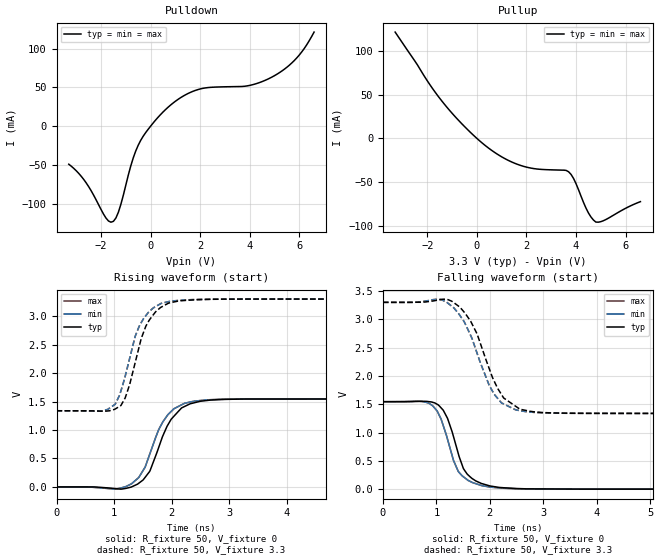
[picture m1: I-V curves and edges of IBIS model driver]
| IBIS file ex2_slowpre_probe.ibs created by PYS2IBIS3
| Missouri S&T EMC Lab
[IBIS Ver] 7.1
[File Name] ex2_slowpre_probe.ibs
[File Rev] 1.0
[Date] July 28, 2026
[Source] ex2 variant 'slowpre' -- predriver at half width
[Notes] Observation pass for parameter selection.
[Disclaimer] Experimental characterization for pybis observability study.
[Component] MCM Driver 1
[Manufacturer] MegaFLOPS Inc.
[Package]
| variable   typ   min   max
R_pkg 0 NA NA
L_pkg 0H NA NA
C_pkg 0F NA NA
[Pin]  signal_name   model_name   R_pin   L_pin   C_pin
vdd   vdd   POWER
gnd   gnd   GND
| in in dummy
out   out   driver
| End of Component
| Models and submodels in the file (1): driver (Output)
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[Model] driver
Model_type Output
Polarity Non-Inverting
Enable Active-Low
Vinl  = 0.8V
Vinh  = 2V
C_comp 5.0000pF 5.0000pF 5.0000pF
[Temperature Range] 27.0000 27.0000 27.0000
[Voltage Range] 3.3000V 3.3000V 3.3000V
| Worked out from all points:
|   slope of the pulldown table from 0 to 0.495 V, typ, clamps not added: 27.4 ohm
|   slope of the pullup table from 0 to 0.495 V, typ, clamps not added: 42.7 ohm
|   rising waveform, R_fixture 50, V_fixture 0: 20-80 % time 400ps typ, 396ps min, 396ps max; typ from 0 V to 1.54 V
|   rising waveform, R_fixture 50, V_fixture 3.3: 20-80 % time 350ps typ, 351ps min, 351ps max; typ from 1.34 V to 3.3 V
|   falling waveform, R_fixture 50, V_fixture 0: 20-80 % time 330ps typ, 324ps min, 324ps max; typ from 1.54 V to 0 V
|   falling waveform, R_fixture 50, V_fixture 3.3: 20-80 % time 504ps typ, 502ps min, 502ps max; typ from 3.3 V to 1.34 V
[Pulldown]
| Voltage   I(typ)   I(min)   I(max)
-3.3V     -48.93mA   -48.93mA   -48.93mA
-2.6V     -72.86mA   -72.86mA   -72.86mA
-1.8V     -118.2mA   -118.2mA   -118.2mA
-1.5V     -122.5mA   -122.5mA   -122.5mA
-1.3V     -110.9mA   -110.9mA   -110.9mA
-500mV    -24.59mA   -24.59mA   -24.59mA
600mV     21.34mA    21.34mA    21.34mA
1.9V      47.12mA    47.12mA    47.12mA
3.9V      51.99mA    51.99mA    51.99mA
4.9V      63.38mA    63.38mA    63.38mA
5.9V      87.99mA    87.99mA    87.99mA
6.6V      121.3mA    121.3mA    121.3mA
[Pullup]
| Voltage   I(typ)   I(min)   I(max)
-3.3V     122mA      122mA      122mA
-1.9V     61.75mA    61.75mA    61.75mA
-1.3V     38.86mA    38.86mA    38.86mA
-200mV    5.278mA    5.278mA    5.278mA
700mV     -15.75mA   -15.75mA   -15.75mA
2V        -32.92mA   -32.92mA   -32.92mA
3.7V      -38.24mA   -38.24mA   -38.24mA
3.9V      -45.89mA   -45.89mA   -45.89mA
4.5V      -85.43mA   -85.43mA   -85.43mA
4.8V      -95.97mA   -95.97mA   -95.97mA
5.1V      -94.48mA   -94.48mA   -94.48mA
6.6V      -72.53mA   -72.53mA   -72.53mA
[Ramp]
| variable   typ   min   max
dV/dt_r 0.9270/0.4007n 0.9270/0.3954n 0.9270/0.3954n
dV/dt_f 1.1772/0.5051n 1.1772/0.5027n 1.1772/0.5027n
R_load = 50
[Rising Waveform]
R_fixture = 50
V_fixture = 0
|time   V(typ)   V(min)   V(max)
0s        7.302nV    7.302nV    7.302nV
1.025ns   -30.3mV    -38.4mV    -38.4mV
1.401ns   43.32mV    139.8mV    139.8mV
1.538ns   163.6mV    341.7mV    341.7mV
1.626ns   283.4mV    593.3mV    593.3mV
1.77ns    674.5mV    992.4mV    992.4mV
1.93ns    1.079V     1.26V      1.26V
2.17ns    1.383V     1.44V      1.44V
2.378ns   1.475V     1.504V     1.504V
8ns       1.545V     1.545V     1.545V
[Rising Waveform]
R_fixture = 50
V_fixture = 3.3
|time   V(typ)   V(min)   V(max)
0s        1.338V     1.338V     1.338V
888.9ps   1.334V     1.361V     1.361V
1.017ns   1.367V     1.45V      1.45V
1.121ns   1.432V     1.691V     1.691V
1.265ns   1.776V     2.235V     2.235V
1.369ns   2.183V     2.649V     2.649V
1.449ns   2.512V     2.847V     2.847V
1.618ns   2.938V     3.084V     3.084V
1.97ns    3.234V     3.261V     3.261V
8ns       3.3V       3.3V       3.3V
[Falling Waveform]
R_fixture = 50
V_fixture = 0
|time   V(typ)   V(min)   V(max)
0s        1.545V     1.545V     1.545V
792.8ps   1.553V     1.54V      1.54V
1.033ns   1.49V      1.346V     1.346V
1.209ns   1.25V      879.8mV    879.8mV
1.321ns   924.6mV    505mV      505mV
1.409ns   625.4mV    313.5mV    313.5mV
1.578ns   264.8mV    165.3mV    165.3mV
1.834ns   103.1mV    65.6mV     65.6mV
2.643ns   5.735mV    5.132mV    5.132mV
8ns       -6.888uV   -71.39uV   -71.39uV
[Falling Waveform]
R_fixture = 50
V_fixture = 3.3
|time   V(typ)   V(min)   V(max)
0s        3.3V       3.3V       3.3V
1.081ns   3.35V      3.35V      3.35V
1.433ns   3.22V      3.078V     3.078V
1.658ns   2.936V     2.682V     2.682V
1.762ns   2.741V     2.393V     2.393V
2.074ns   1.921V     1.687V     1.687V
2.25ns    1.617V     1.508V     1.508V
2.491ns   1.459V     1.399V     1.399V
3.331ns   1.343V     1.342V     1.342V
8ns       1.338V     1.338V     1.338V
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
